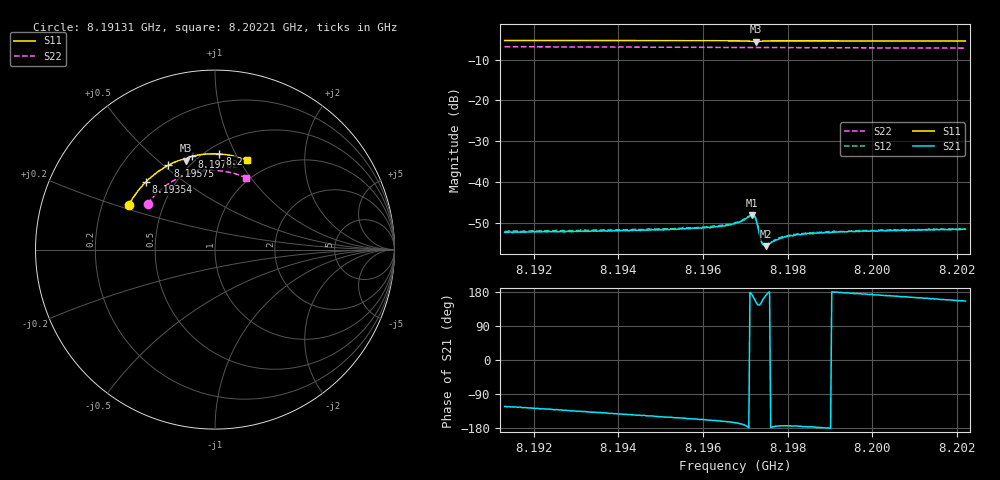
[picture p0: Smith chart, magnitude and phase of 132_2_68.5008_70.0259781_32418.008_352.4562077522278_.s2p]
#  HZ  S  RI  R  50.00
! Rohde & Schwarz Vector Network Analyzer
! Rohde-Schwarz,ZNB20-2Port,1311601062101988,3.16
! Created: UTC 3/20/2024, 4:54:25 PM
! freq[Hz]  re:S11  im:S11  re:S21  im:S21  re:S12  im:S12  re:S22  im:S22
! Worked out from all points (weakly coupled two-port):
!   401 points, 8.19131 GHz to 8.20221 GHz, reference 50 ohm
!   highest |S21| = -48.04 dB at 8.19717 GHz (marker M1); lowest = -55.6 dB at 8.19749 GHz (marker M2)
!   lowest |S11| = -5.6 dB at 8.19725 GHz (marker M3), VSWR 3.18, Z = 22.8 + j31.1 ohm
!   |S11| at or under -10 dB: nowhere
!   |S22| runs from -7.2 to -6.9 dB; largest |S21 - S12| = 0.0002
!   S11 on the Smith chart (normalised r, x): 8.19131 GHz: 0.31, +0.22; 8.19354 GHz: 0.34, +0.36; 8.19575 GHz: 0.39, +0.52; 8.19782 GHz: 0.46, +0.67; 8.2 GHz: 0.58, +0.86; 8.20221 GHz: 0.77, +1.08
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8.191307e9  -0.4796 0.2492  -0.00132 -0.00206  -0.00142 -0.00209  -0.3751 0.2537
8.193133e9  -0.4064 0.3543  -0.00183 -0.00175  -0.00192 -0.00175  -0.3076 0.3292
8.193542e9  -0.387 0.3754  -0.0019 -0.00167  -0.002 -0.0016  -0.2902 0.3438
8.194959e9  -0.3103 0.4395  -0.00229 -0.00133  -0.00236 -0.00132  -0.2245 0.3877
8.19575e9  -0.2625 0.4687  -0.0025 -0.00115  -0.00258 -0.00107  -0.1848 0.4067
8.196213e9  -0.2329 0.4838  -0.00264 -0.001  -0.00274 -0.000896  -0.1605 0.416
8.196567e9  -0.2092 0.4937  -0.00283 -0.000867  -0.00293 -0.000832  -0.1418 0.4223
8.196758e9  -0.1957 0.4985  -0.00301 -0.000791  -0.00314 -0.000673  -0.1315 0.4252
8.197167e9  -0.1632 0.5004  -0.00392 0.000615  -0.004 0.000795  -0.1089 0.4306
8.197221e9  -0.1614 0.4973  -0.00359 0.00131  -0.0036 0.00151  -0.1059 0.4311
8.197248e9  -0.1619 0.4963  -0.00321 0.00157  -0.00318 0.00177  -0.1046 0.4314
8.197276e9  -0.1629 0.4961  -0.00273 0.00167  -0.00269 0.00183  -0.1031 0.4316
8.197357e9  -0.1636 0.5011  -0.00175 0.00111  -0.00175 0.00121  -0.0987 0.4329
8.197385e9  -0.1624 0.5033  -0.00165 0.000877  -0.00161 0.00096  -0.0973 0.4331
8.197439e9  -0.1591 0.507  -0.00161 0.000485  -0.0016 0.000569  -0.0942 0.4338
8.197494e9  -0.1551 0.5095  -0.00164 0.000247  -0.00166 0.000304  -0.0913 0.4345
8.197821e9  -0.1308 0.5188  -0.00204 -0.000211  -0.00211 -0.000125  -0.0732 0.4374
8.198039e9  -0.115 0.5226  -0.00219 -0.000237  -0.00225 -0.000156  -0.0608 0.439
8.198584e9  -0.0763 0.5294  -0.00236 -0.000153  -0.00239 -2.71e-05  -0.03 0.441
8.200001e9  0.0243 0.5327  -0.00253 0.000307  -0.00253 0.000439  0.05 0.4364
8.20041e9  0.0532 0.5302  -0.00253 0.000425  -0.00252 0.000587  0.0729 0.4325
8.202209e9  0.1765 0.5004  -0.00243 0.00111  -0.00243 0.0012  0.1701 0.4006
